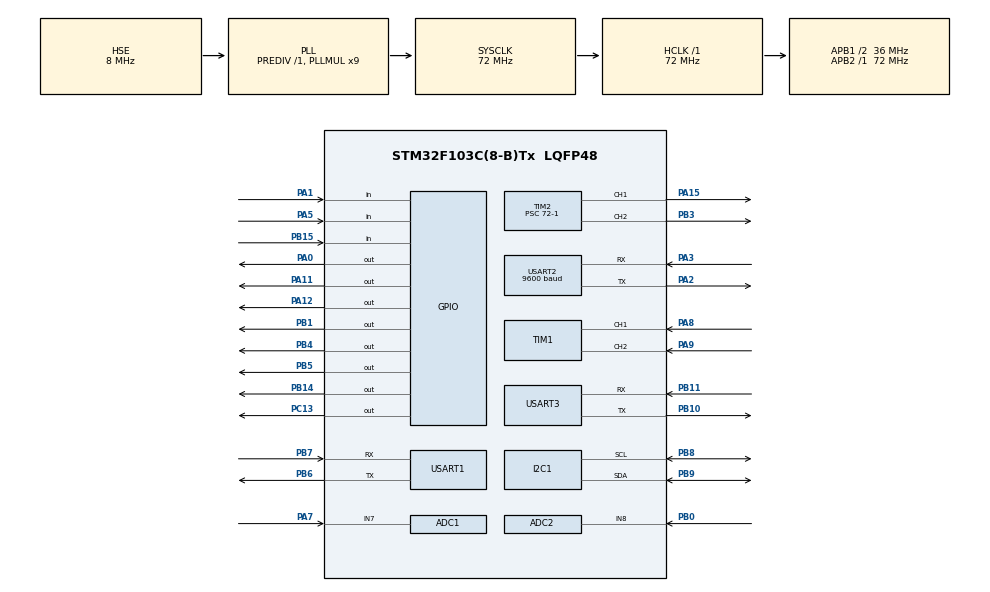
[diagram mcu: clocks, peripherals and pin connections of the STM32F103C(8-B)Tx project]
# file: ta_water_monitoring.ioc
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ADC1.Channel-1\#ChannelRegularConversion=ADC_CHANNEL_7
ADC1.NbrOfConversionFlag=1
ADC1.Rank-1\#ChannelRegularConversion=1
ADC1.SamplingTime-1\#ChannelRegularConversion=ADC_SAMPLETIME_1CYCLE_5
ADC1.master=1
ADC2.Channel-1\#ChannelRegularConversion=ADC_CHANNEL_8
ADC2.NbrOfConversionFlag=1
ADC2.Rank-1\#ChannelRegularConversion=1
ADC2.SamplingTime-1\#ChannelRegularConversion=ADC_SAMPLETIME_1CYCLE_5
Dma.Request0=USART1_RX
Dma.Request1=USART1_TX
Dma.Request2=USART3_RX
Dma.Request3=USART3_TX
Dma.Request4=USART2_RX
Dma.Request5=USART2_TX
Dma.USART1_RX.0.Direction=DMA_PERIPH_TO_MEMORY
Dma.USART1_RX.0.Instance=DMA1_Channel5
Dma.USART1_RX.0.MemDataAlignment=DMA_MDATAALIGN_BYTE
Dma.USART1_RX.0.MemInc=DMA_MINC_ENABLE
Dma.USART1_RX.0.Mode=DMA_NORMAL
Dma.USART1_RX.0.PeriphDataAlignment=DMA_PDATAALIGN_BYTE
Dma.USART1_RX.0.PeriphInc=DMA_PINC_DISABLE
Dma.USART1_RX.0.Priority=DMA_PRIORITY_LOW
Dma.USART1_TX.1.Direction=DMA_MEMORY_TO_PERIPH
Dma.USART1_TX.1.Instance=DMA1_Channel4
Dma.USART1_TX.1.MemDataAlignment=DMA_MDATAALIGN_BYTE
Dma.USART1_TX.1.MemInc=DMA_MINC_ENABLE
Dma.USART1_TX.1.Mode=DMA_NORMAL
Dma.USART1_TX.1.PeriphDataAlignment=DMA_PDATAALIGN_BYTE
Dma.USART1_TX.1.PeriphInc=DMA_PINC_DISABLE
Dma.USART1_TX.1.Priority=DMA_PRIORITY_LOW
Dma.USART2_RX.4.Direction=DMA_PERIPH_TO_MEMORY
Dma.USART2_RX.4.Instance=DMA1_Channel6
Dma.USART2_RX.4.MemDataAlignment=DMA_MDATAALIGN_BYTE
Dma.USART2_RX.4.MemInc=DMA_MINC_ENABLE
Dma.USART2_RX.4.Mode=DMA_NORMAL
Dma.USART2_RX.4.PeriphDataAlignment=DMA_PDATAALIGN_BYTE
Dma.USART2_RX.4.PeriphInc=DMA_PINC_DISABLE
Dma.USART2_RX.4.Priority=DMA_PRIORITY_LOW
Dma.USART2_TX.5.Direction=DMA_MEMORY_TO_PERIPH
Dma.USART2_TX.5.Instance=DMA1_Channel7
Dma.USART2_TX.5.MemDataAlignment=DMA_MDATAALIGN_BYTE
Dma.USART2_TX.5.MemInc=DMA_MINC_ENABLE
Dma.USART2_TX.5.Mode=DMA_NORMAL
Dma.USART2_TX.5.PeriphDataAlignment=DMA_PDATAALIGN_BYTE
Dma.USART2_TX.5.PeriphInc=DMA_PINC_DISABLE
Dma.USART2_TX.5.Priority=DMA_PRIORITY_LOW
Dma.USART3_RX.2.Direction=DMA_PERIPH_TO_MEMORY
Dma.USART3_RX.2.Instance=DMA1_Channel3
Dma.USART3_RX.2.MemDataAlignment=DMA_MDATAALIGN_BYTE
Dma.USART3_RX.2.MemInc=DMA_MINC_ENABLE
Dma.USART3_RX.2.Mode=DMA_NORMAL
Dma.USART3_RX.2.PeriphDataAlignment=DMA_PDATAALIGN_BYTE
Dma.USART3_RX.2.PeriphInc=DMA_PINC_DISABLE
Dma.USART3_RX.2.Priority=DMA_PRIORITY_LOW
Dma.USART3_TX.3.Direction=DMA_MEMORY_TO_PERIPH
Dma.USART3_TX.3.Instance=DMA1_Channel2
Dma.USART3_TX.3.MemDataAlignment=DMA_MDATAALIGN_BYTE
Dma.USART3_TX.3.MemInc=DMA_MINC_ENABLE
Dma.USART3_TX.3.Mode=DMA_NORMAL
Dma.USART3_TX.3.PeriphDataAlignment=DMA_PDATAALIGN_BYTE
Dma.USART3_TX.3.PeriphInc=DMA_PINC_DISABLE
Dma.USART3_TX.3.Priority=DMA_PRIORITY_LOW
Mcu.Family=STM32F1
Mcu.Name=STM32F103C(8-B)Tx
Mcu.Package=LQFP48
NVIC.DMA1_Channel2_IRQn=true\:0\:0\:false\:false\:true\:false\:true\:true
NVIC.DMA1_Channel3_IRQn=true\:0\:0\:false\:false\:true\:false\:true\:true
NVIC.DMA1_Channel4_IRQn=true\:0\:0\:false\:false\:true\:false\:true\:true
NVIC.DMA1_Channel5_IRQn=true\:0\:0\:false\:false\:true\:false\:true\:true
NVIC.DMA1_Channel6_IRQn=true\:0\:0\:false\:false\:true\:false\:true\:true
NVIC.DMA1_Channel7_IRQn=true\:0\:0\:false\:false\:true\:false\:true\:true
NVIC.PriorityGroup=NVIC_PRIORITYGROUP_4
NVIC.RCC_IRQn=true\:0\:0\:false\:false\:true\:true\:false\:true
NVIC.TIM3_IRQn=true\:0\:0\:false\:false\:true\:true\:true\:true
NVIC.TIM4_IRQn=true\:0\:0\:false\:false\:true\:true\:true\:true
NVIC.USART1_IRQn=true\:0\:0\:false\:false\:true\:true\:true\:true
NVIC.USART2_IRQn=true\:0\:0\:false\:false\:true\:true\:true\:true
NVIC.USART3_IRQn=true\:0\:0\:false\:false\:true\:true\:true\:true
PA0-WKUP.Signal=GPIO_Output
PA1.GPIO_PuPd=GPIO_PULLUP
PA1.Signal=GPIO_Input
PA11.Signal=GPIO_Output
PA12.Signal=GPIO_Output
PA13.Mode=Serial_Wire
PA13.Signal=SYS_JTMS-SWDIO
PA14.Mode=Serial_Wire
PA14.Signal=SYS_JTCK-SWCLK
PA15.Signal=S_TIM2_CH1_ETR
PA2.Mode=Asynchronous
PA2.Signal=USART2_TX
PA3.Mode=Asynchronous
PA3.Signal=USART2_RX
PA5.GPIO_PuPd=GPIO_PULLUP
PA5.Signal=GPIO_Input
PA7.Signal=ADCx_IN7
PA8.GPIO_PuPd=GPIO_PULLUP
PA8.Signal=S_TIM1_CH1
PA9.GPIO_PuPd=GPIO_PULLUP
PA9.Signal=S_TIM1_CH2
PB0.Signal=ADCx_IN8
PB1.Signal=GPIO_Output
PB10.Mode=Asynchronous
PB10.Signal=USART3_TX
PB11.Mode=Asynchronous
PB11.Signal=USART3_RX
PB14.Signal=GPIO_Output
PB15.Signal=GPIO_Input
PB3.Signal=S_TIM2_CH2
PB4.Signal=GPIO_Output
PB5.Signal=GPIO_Output
PB6.Mode=Asynchronous
PB6.Signal=USART1_TX
PB7.Mode=Asynchronous
PB7.Signal=USART1_RX
PB8.Mode=I2C
PB8.Signal=I2C1_SCL
PB9.Mode=I2C
PB9.Signal=I2C1_SDA
PC13-TAMPER-RTC.Signal=GPIO_Output
PD0-OSC_IN.Mode=HSE-External-Oscillator
PD0-OSC_IN.Signal=RCC_OSC_IN
PD1-OSC_OUT.Mode=HSE-External-Oscillator
PD1-OSC_OUT.Signal=RCC_OSC_OUT
ProjectManager.HeapSize=0x200
ProjectManager.StackSize=0x400
ProjectManager.TargetToolchain=STM32CubeIDE
RCC.ADCPresc=RCC_ADCPCLK2_DIV6
RCC.AHBFreq_Value=72000000
RCC.APB1CLKDivider=RCC_HCLK_DIV2
RCC.APB1Freq_Value=36000000
RCC.APB1TimFreq_Value=72000000
RCC.APB2Freq_Value=72000000
RCC.APB2TimFreq_Value=72000000
RCC.HCLKFreq_Value=72000000
RCC.PLLMUL=RCC_PLL_MUL9
RCC.PLLSourceVirtual=RCC_PLLSOURCE_HSE
RCC.SYSCLKFreq_VALUE=72000000
RCC.SYSCLKSource=RCC_SYSCLKSOURCE_PLLCLK
RCC.USBFreq_Value=72000000
SH.ADCx_IN7.0=ADC1_IN7,IN7
SH.ADCx_IN8.0=ADC2_IN8,IN8
SH.S_TIM1_CH1.0=TIM1_CH1,Encoder_Interface
SH.S_TIM1_CH2.0=TIM1_CH2,Encoder_Interface
SH.S_TIM2_CH1_ETR.0=TIM2_CH1,PWM Generation1 CH1
SH.S_TIM2_CH2.0=TIM2_CH2,PWM Generation2 CH2
TIM2.Channel-PWM\ Generation1\ CH1=TIM_CHANNEL_1
TIM2.Channel-PWM\ Generation2\ CH2=TIM_CHANNEL_2
TIM2.Period=1000-1
TIM2.Prescaler=72-1
TIM3.Prescaler=72-1
TIM4.Period=1000-1
TIM4.Prescaler=72-1
USART1.VirtualMode=VM_ASYNC
USART2.BaudRate=9600
USART2.VirtualMode=VM_ASYNC
USART3.VirtualMode=VM_ASYNC
VP_TIM3_VS_ClockSourceINT.Mode=Internal
VP_TIM4_VS_ClockSourceINT.Mode=Internal
board=custom

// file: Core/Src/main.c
/* USER CODE BEGIN Header */
/**
  ******************************************************************************
  * @file           : main.c
  * @brief          : Main program body
  ******************************************************************************
  * @attention
  *
  * Copyright (c) 2025 STMicroelectronics.
  * All rights reserved.
  *
  * This software is licensed under terms that can be found in the LICENSE file
  * in the root directory of this software component.
  * If no LICENSE file comes with this software, it is provided AS-IS.
  *
  ******************************************************************************
  */
/* USER CODE END Header */
#include "main.h"

/* USER CODE BEGIN Includes */
#include "control.h"
#include "sampling.h"
/* USER CODE END Includes */

ADC_HandleTypeDef hadc1;
ADC_HandleTypeDef hadc2;

I2C_HandleTypeDef hi2c1;

TIM_HandleTypeDef htim1;
TIM_HandleTypeDef htim2;
TIM_HandleTypeDef htim3;
TIM_HandleTypeDef htim4;

UART_HandleTypeDef huart1;
UART_HandleTypeDef huart2;
UART_HandleTypeDef huart3;
DMA_HandleTypeDef hdma_usart1_rx;
DMA_HandleTypeDef hdma_usart1_tx;
DMA_HandleTypeDef hdma_usart2_rx;
DMA_HandleTypeDef hdma_usart2_tx;
DMA_HandleTypeDef hdma_usart3_rx;
DMA_HandleTypeDef hdma_usart3_tx;

void SystemClock_Config(void);
static void MX_GPIO_Init(void);
static void MX_DMA_Init(void);
static void MX_TIM2_Init(void);
static void MX_USART1_UART_Init(void);
static void MX_USART3_UART_Init(void);
static void MX_I2C1_Init(void);
static void MX_TIM1_Init(void);
static void MX_USART2_UART_Init(void);
static void MX_TIM4_Init(void);
static void MX_ADC1_Init(void);
static void MX_TIM3_Init(void);
static void MX_ADC2_Init(void);

/* USER CODE BEGIN 0 */

/******************************************************************************
 * Function Definitions
 *****************************************************************************/
#define ADAPTIVE_SAMPLING
#define CONTROL_SYSTEM

uint8_t done_state = 0;
int reset = 0;
int test = 0;
uint32_t current_sys_tick = 0;
uint8_t	get_data[] = "R\r", get_data_cnt = 0;
uint8_t send_time = 0;
uint8_t ph_ready = 0, temp_ready = 0, do_ready = 0, turb_ready = 0;
uint8_t ph_cnt = 0, temp_cnt = 0, do_cnt = 0, turb_cnt = 0;
uint8_t send_cnt = 0;
uint32_t sys_tick_offset = 0;
uint8_t tick_once = 0;

void HAL_TIM_PeriodElapsedCallback(TIM_HandleTypeDef *htim)
{

	if(htim == &htim4) //--- general timer (every 1 ms)
	{
		test++;

		if(adaptive_start)
		{
			globalTimerProcess(&Global_Time);
		}

#ifdef CONTROL_SYSTEM
		my_my_task();

		light_sequence();

//		Task_Pressure();

		Task_Control_Test_UpDown();

		if((depth_setpoint != -1) && (duration_min != 0))
		{
			pid_task.start = 1; //---set this to 1
		}

		Task_Control_PID();
#endif

#ifdef ADAPTIVE_SAMPLING

	if(adaptive_start)
	{

		if(Global_Time.minute_t >= duration_min)
		{
			adaptive_start = 0;
			done_state = 1;
			pid_task.state = 3;
		}

		if(send_ph)
		{
			ph_ready = 1;
			ph_cnt++;
			if(ph_cnt >= 99)
			{
				ph_cnt = 0;
				ph_ready = 0;
				send_ph = 0;
			}
		}

		if(send_temp)
		{
			temp_ready = 1;
			temp_cnt++;
			if(temp_cnt >= 99)
			{
				temp_cnt = 0;
				temp_ready = 0;
				send_temp = 0;
			}
		}

		if(send_do)
		{
			do_ready = 1;
			do_cnt++;
			if(do_cnt >= 99)
			{
				do_cnt = 0;
				do_ready = 0;
				send_do = 0;
			}
		}

		if(send_turb)
		{
			turb_ready = 1;
			turb_cnt++;
			if(turb_cnt >= 99)
			{
				turb_cnt = 0;
				turb_ready = 0;
				send_turb = 0;
			}
		}

		if(done_state)
		{
			ph_ready = temp_ready = do_ready = turb_ready = 0;
		}

		memcpy(transmit +  3, &Global_Time.hour_t, 2);
		memcpy(transmit +  5, &Global_Time.minute_t, 1);
		memcpy(transmit +  6, &Global_Time.second_t, 1);
		memcpy(transmit +  7, &Global_Time.millisecond_t, 2);

		memcpy(transmit +  9, &ph_ready, 1);
		memcpy(transmit + 10, &ph, 4);
		memcpy(transmit + 14, &pHSampler.currentInterval, 4);

		memcpy(transmit + 18, &temp_ready, 1);
		memcpy(transmit + 19, &temp_cal, 4);
		memcpy(transmit + 23, &tempSampler.currentInterval, 4);

		memcpy(transmit + 27, &do_ready, 1);
		memcpy(transmit + 28, &do_data.value, 4);
		memcpy(transmit + 32, &doSampler.currentInterval, 4);

		memcpy(transmit + 36, &turb_ready, 1);
		memcpy(transmit + 37, &turbid_data.value, 4);
		memcpy(transmit + 41, &turbidSampler.currentInterval, 4);

		send_time++;
		if(send_time >= 99)
		{
			HAL_UART_Transmit_DMA(&huart1, (uint8_t *)transmit, sizeof(transmit));
			send_time = 0;
		}

	}

#endif
	}

}

void HAL_UART_RxCpltCallback(UART_HandleTypeDef *huart)
{
	if(huart == &huart1)
	{
		memcpy(&depth_setpoint, UART1_RX_BUFFER + 3, 4);
		memcpy(&duration_min, UART1_RX_BUFFER + 7, 4);

		HAL_UART_Receive_DMA(&huart1, (uint8_t*)UART1_RX_BUFFER, sizeof(UART1_RX_BUFFER));
	}

	if(huart == &huart2)
	{
		for (int i = 0 ; i< sizeof(rx) ; i++){
			if(rx[i] == '\r' || rx[i] == '\n'){
				rx[i] = '\0';
				break;
				}
			}
			ph = atof(rx);
			//ph_cal = (ph - 0.085) / 0.5383;

		    response_received = 1;

		    HAL_UART_Receive_DMA(&huart2, (uint8_t *)rx, sizeof(rx));
	}
}

void HAL_UART_RxHalfCpltCallback(UART_HandleTypeDef *huart)
{
	if(huart == &huart1)
	{
		if(!(UART1_RX_BUFFER[0] == 'A' && UART1_RX_BUFFER[1] == 'B' && UART1_RX_BUFFER[2] == 'C'))
		{
			HAL_UART_AbortReceive(&huart1);
			HAL_UART_Receive_DMA(&huart1, (uint8_t*)UART1_RX_BUFFER, sizeof(UART1_RX_BUFFER));
		}
	}

	if(huart == &huart2)
	{
//		if(!(rx[0] == 'A' && rx[1] == 'B' && rx[2] == 'C'))
//		{
//			HAL_UART_AbortReceive(&huart2);
//			HAL_UART_Receive_DMA(&huart2, (uint8_t*)rx, sizeof(rx));
//		}
	}
}

void HAL_UART_ErrorCallback(UART_HandleTypeDef *huart)
{
	if(huart == &huart1)
	{
		HAL_UART_AbortReceive(&huart1);
		HAL_UART_Receive_DMA(&huart1, (uint8_t*)UART1_RX_BUFFER, sizeof(UART1_RX_BUFFER));
	}

	if(huart == &huart2)
	{
		HAL_UART_Receive_DMA(&huart2, (uint8_t*)rx, sizeof(rx));
	}
}

/* USER CODE END 0 */

int main(void)
{

  /* MCU Configuration--------------------------------------------------------*/

  /* Reset of all peripherals, Initializes the Flash interface and the Systick. */
  HAL_Init();

  /* Configure the system clock */
  SystemClock_Config();

  /* Initialize all configured peripherals */
  MX_GPIO_Init();
  MX_DMA_Init();
  MX_TIM2_Init();
  MX_USART1_UART_Init();
  MX_USART3_UART_Init();
  MX_I2C1_Init();
  MX_TIM1_Init();
  MX_USART2_UART_Init();
  MX_TIM4_Init();
  MX_ADC1_Init();
  MX_TIM3_Init();
  MX_ADC2_Init();
  /* USER CODE BEGIN 2 */

#ifdef CONTROL_SYSTEM
  initSubmersible();
#endif

#ifdef ADAPTIVE_SAMPLING

  initSampler(&tempSampler, tempHistory, HISTORY_SIZE, 0.025, 1000, 1000, 10000);
  initSampler(&doSampler, doHistory, HISTORY_SIZE, 0.06, 90000, 90000, 300000);
  initSampler(&pHSampler, pHHistory, HISTORY_SIZE, 0.018, 60000, 60000, 300000);
  initSampler(&turbidSampler, turbidHistory, HISTORY_SIZE, 0.02, 1000, 1000, 10000);

  temp_cal = 25;

  HAL_UART_Receive_DMA(&huart2, (uint8_t*)rx, sizeof(rx));

  HAL_TIM_Base_Start_IT(&htim3);
#endif
//--- turn this ON
  HAL_UART_Receive_DMA(&huart1, (uint8_t*)UART1_RX_BUFFER, sizeof(UART1_RX_BUFFER));

  HAL_TIM_Base_Start_IT(&htim4);
  /* USER CODE END 2 */

  /* Infinite loop */
  /* USER CODE BEGIN WHILE */
  while (1)
  {

#ifdef ADAPTIVE_SAMPLING

	  if(adaptive_start)
	  {
		  if(!tick_once)
		  {
			  tick_once++;
			  sys_tick_offset = HAL_GetTick();
		  }
	  current_sys_tick = HAL_GetTick() - sys_tick_offset;
	  switch (temp_state)
	  {
	  	  case TEMP_STATE_IDLE:
	  		  if (current_sys_tick - last_temp_tick >= tempSampler.currentInterval-750)
	  		  { // 1 detik interval pembacaan

	  			  Presence = DS18B20_Start();
	  			  if (Presence == 1)
	  			  {
	  				  DS18B20_Write(0xCC);  // skip ROM
	  				  DS18B20_Write(0x44);  // start temperature conversion
	  				  last_temp_tick = current_sys_tick;  // mulai tunggu 750ms
	  				  temp_state = TEMP_STATE_WAIT_CONVERT;
	  			  }
	  			  else
	  			  {
	  				  last_temp_tick = current_sys_tick;
	  				  temp_state = TEMP_STATE_IDLE;
	  			  }
	  		  }
	  		  break;

	  	  case TEMP_STATE_WAIT_CONVERT:
	  		  if (current_sys_tick - last_temp_tick >= 750)
	  		  {
	  			  temp_state = TEMP_STATE_READ_TEMP;
	  		  }
	  		  break;

	  	  case TEMP_STATE_READ_TEMP:
	  		  Presence = DS18B20_Start();
	  		  if (Presence == 1)
	  		  {
	  			  DS18B20_Write(0xCC);  // skip ROM
	  			  DS18B20_Write(0xBE);  // read scratchpad
	  			  Temp_byte1 = DS18B20_Read(); // LSB
	  			  Temp_byte2 = DS18B20_Read(); // MSB
	  			  temp_state = TEMP_STATE_DONE;
	  		  }
	  		  else
	  		  {
	  			  last_temp_tick = current_sys_tick;
	  			  temp_state = TEMP_STATE_IDLE; // gagal deteksi sensor
	  		  }
	  		  break;

	  	  case TEMP_STATE_DONE:
	  		  uint16_t TEMP = (Temp_byte2 << 8) | Temp_byte1;
	  		  temp_raw = (float)TEMP / 16.0;
	  		  temp_cal = 0.9722 * temp_raw + 0.6976;
	  		  float newIntervalTemp = updateSamplingInterval(&tempSampler, temp_cal);
	  		  tempSampler.currentInterval = newIntervalTemp;
	  		  send_temp = 1;
	  		  last_temp_tick = current_sys_tick;
	  		  temp_state = TEMP_STATE_IDLE;
	  		  break;

	  	  default:
	  		  temp_state = TEMP_STATE_IDLE;
	  		  break;
	  }

	  switch(do_state)
	  {
	  	  case DO_STATE_IDLE:
	  		  if(current_sys_tick - last_do_tick >= doSampler.currentInterval)
	  		  {
	  			  do_state = DO_STATE_READ_ADC;
	  		  }
	  		  break;

	  	  case DO_STATE_READ_ADC:
	  		  HAL_ADC_Start(&hadc1);
	  		  if(HAL_ADC_PollForConversion(&hadc1, 100) == HAL_OK)
	  		  {
	  			  do_data.adc_raw = HAL_ADC_GetValue(&hadc1);
	  		  }
	  		  else
	  		  {
	  			  do_data.adc_raw = 0;
	  		  }
	  		  HAL_ADC_Stop(&hadc1);
	  		  do_state = DO_STATE_CALCULATE;
	  		  break;

	  	  case DO_STATE_CALCULATE:
	  		  do_data.adc_voltage = VREF * do_data.adc_raw/ADC_RES;
	  		  do_data.value = calculateDO(do_data.adc_voltage, temp_cal);
	  		  do_data.cal_value = (0.1012*do_data.value*do_data.value)+(0.2518*do_data.value)+0.3116;
	  		  do_state = DO_STATE_DONE;
	  		  break;
	  	  case DO_STATE_DONE:
	  		  float newIntervalDO = updateSamplingInterval(&doSampler, do_data.value);
	  		  doSampler.currentInterval = newIntervalDO;
	  		  last_do_tick = current_sys_tick;
	  		  do_state = DO_STATE_IDLE;
	  		  send_do = 1;
	  		  break;

	  	  default:
	  		  do_state = DO_STATE_IDLE;
	  		  break;
	  }

	  switch(turbid_state)
	  {
	  	  case TURBID_STATE_IDLE:
	  		  if(current_sys_tick - last_turbid_tick >= turbidSampler.currentInterval)
	  		  {
	  			  turbid_state = TURBID_STATE_READ_ADC;
	  		  }
	  		  break;

	  	  case TURBID_STATE_READ_ADC:
	  		  HAL_ADC_Start(&hadc2);
	  		  if(HAL_ADC_PollForConversion(&hadc2, 100) == HAL_OK)
	  		  {
	  			  turbid_data.adc_raw = HAL_ADC_GetValue(&hadc2);
	  		  }
	  		  else
	  		  {
	  			  turbid_data.adc_raw = 0;
	  		  }
	  		  HAL_ADC_Stop(&hadc2);
	  		  turbid_state = TURBID_STATE_FILTER;
	  		  break;

	  	  case TURBID_STATE_FILTER:
	  		  // Hapus nilai lama dari jumlah total
	  		  if (turbid_buffer_count == MOV_AVER_TURB)
	  		  {
	  			  turbid_buffer_sum -= turbid_values_buffer[turbid_buffer_index];
	  		  }

	  		  // Tambahkan nilai ADC raw baru ke buffer dan jumlah total
	  		  turbid_values_buffer[turbid_buffer_index] = turbid_data.adc_raw;
	  		  turbid_buffer_sum += turbid_data.adc_raw;

	  		  // Majukan indeks buffer
	  		  turbid_buffer_index = (turbid_buffer_index + 1) % MOV_AVER_TURB;

	  		  // Hitung berapa banyak data yang sudah ada di buffer (maks TURBID_MOVING_AVERAGE_N)
	  		  if (turbid_buffer_count < MOV_AVER_TURB)
	  		  {
	  			  turbid_buffer_count++;
	  		  }

	  		  // Hitung nilai rata-rata ADC mentah yang difilter
	  		  turbid_data.filtered_adc_raw = (uint32_t)(turbid_buffer_sum / turbid_buffer_count);

	  		  turbid_state = TURBID_STATE_CALCULATE; // Lanjut ke state perhitungan
	  		  break;

	  	  case TURBID_STATE_CALCULATE:

	  		  turbid_data.adc_voltage = VREF * (((float)turbid_data.filtered_adc_raw * 2) / ADC_RES)/1000;

	  		  turbid_data.cal_value = (turbid_data.adc_voltage - 2.1733) / -0.003;

	  		  if(turbid_data.cal_value < 0){

	  			  turbid_data.value = 0;

	  		  }

	  		  else turbid_data.value = turbid_data.cal_value;

	  		  turbid_state = TURBID_STATE_DONE;

	  		  break;

	  	  case TURBID_STATE_DONE:
	  		  float newIntervalTurbid = updateSamplingInterval(&turbidSampler, turbid_data.value);

	  		  turbidSampler.currentInterval = newIntervalTurbid;

	  		  last_turbid_tick = current_sys_tick;

	  		  turbid_state = TURBID_STATE_IDLE;

	  		  send_turb = 1;

	  		  break;

	  	  default:
	  		  turbid_state = TURBID_STATE_IDLE;
	  		  break;
	  }

	  switch(ph_state)
	  {
	  	  case PH_STATE_IDLE:
	  		  if(current_sys_tick - last_ph_tick >= pHSampler.currentInterval)
	  		  {
	  			  ph_state = PH_STATE_REQUEST_DATA;
	  		  }
	  		  break;

	  	  case PH_STATE_REQUEST_DATA:
	  		  if(huart2.gState == HAL_UART_STATE_READY)
	  		  {
	  			HAL_UART_Transmit_DMA(&huart2, get_data, strlen((char*)get_data));

	  			response_received = 0;

	  			last_ph_tick = current_sys_tick;

	  			ph_state = PH_STATE_WAIT_RESPONSE;
	  		  }
	  		  break;

	  	  case PH_STATE_WAIT_RESPONSE:
	  		  if(response_received)
	  		  {
	  			  ph_state = PH_STATE_DONE;
	  		  }
//	  		  else
//	  		  {
//	  			  HAL_UART_Receive_DMA(&huart2, (uint8_t *)rx, sizeof(rx));
//	  		  }
	  		  break;

	  	  case PH_STATE_DONE:
	  		  float newIntervalPH = updateSamplingInterval(&pHSampler, ph);

	  		  pHSampler.currentInterval = newIntervalPH;

	  		  last_ph_tick = current_sys_tick;

	  		  send_ph = 1;

	  		  ph_state = PH_STATE_IDLE;

	  		  break;

	  	  default:
	  		  ph_state = PH_STATE_IDLE;
	  		  break;
	  }

	  }
#endif

    /* USER CODE END WHILE */

  }
}

void SystemClock_Config(void)
{
  RCC_OscInitTypeDef RCC_OscInitStruct = {0};
  RCC_ClkInitTypeDef RCC_ClkInitStruct = {0};
  RCC_PeriphCLKInitTypeDef PeriphClkInit = {0};

  /** Initializes the RCC Oscillators according to the specified parameters
  * in the RCC_OscInitTypeDef structure.
  */
  RCC_OscInitStruct.OscillatorType = RCC_OSCILLATORTYPE_HSE;
  RCC_OscInitStruct.HSEState = RCC_HSE_ON;
  RCC_OscInitStruct.HSEPredivValue = RCC_HSE_PREDIV_DIV1;
  RCC_OscInitStruct.HSIState = RCC_HSI_ON;
  RCC_OscInitStruct.PLL.PLLState = RCC_PLL_ON;
  RCC_OscInitStruct.PLL.PLLSource = RCC_PLLSOURCE_HSE;
  RCC_OscInitStruct.PLL.PLLMUL = RCC_PLL_MUL9;
  if (HAL_RCC_OscConfig(&RCC_OscInitStruct) != HAL_OK)
  {
    Error_Handler();
  }

  /** Initializes the CPU, AHB and APB buses clocks
  */
  RCC_ClkInitStruct.ClockType = RCC_CLOCKTYPE_HCLK|RCC_CLOCKTYPE_SYSCLK
                              |RCC_CLOCKTYPE_PCLK1|RCC_CLOCKTYPE_PCLK2;
  RCC_ClkInitStruct.SYSCLKSource = RCC_SYSCLKSOURCE_PLLCLK;
  RCC_ClkInitStruct.AHBCLKDivider = RCC_SYSCLK_DIV1;
  RCC_ClkInitStruct.APB1CLKDivider = RCC_HCLK_DIV2;
  RCC_ClkInitStruct.APB2CLKDivider = RCC_HCLK_DIV1;

  if (HAL_RCC_ClockConfig(&RCC_ClkInitStruct, FLASH_LATENCY_2) != HAL_OK)
  {
    Error_Handler();
  }
  PeriphClkInit.PeriphClockSelection = RCC_PERIPHCLK_ADC;
  PeriphClkInit.AdcClockSelection = RCC_ADCPCLK2_DIV6;
  if (HAL_RCCEx_PeriphCLKConfig(&PeriphClkInit) != HAL_OK)
  {
    Error_Handler();
  }
}

static void MX_ADC1_Init(void)
{

  ADC_ChannelConfTypeDef sConfig = {0};

  /** Common config
  */
  hadc1.Instance = ADC1;
  hadc1.Init.ScanConvMode = ADC_SCAN_DISABLE;
  hadc1.Init.ContinuousConvMode = DISABLE;
  hadc1.Init.DiscontinuousConvMode = DISABLE;
  hadc1.Init.ExternalTrigConv = ADC_SOFTWARE_START;
  hadc1.Init.DataAlign = ADC_DATAALIGN_RIGHT;
  hadc1.Init.NbrOfConversion = 1;
  if (HAL_ADC_Init(&hadc1) != HAL_OK)
  {
    Error_Handler();
  }

  /** Configure Regular Channel
  */
  sConfig.Channel = ADC_CHANNEL_7;
  sConfig.Rank = ADC_REGULAR_RANK_1;
  sConfig.SamplingTime = ADC_SAMPLETIME_1CYCLE_5;
  if (HAL_ADC_ConfigChannel(&hadc1, &sConfig) != HAL_OK)
  {
    Error_Handler();
  }

}

static void MX_ADC2_Init(void)
{

  ADC_ChannelConfTypeDef sConfig = {0};

  /** Common config
  */
  hadc2.Instance = ADC2;
  hadc2.Init.ScanConvMode = ADC_SCAN_DISABLE;
  hadc2.Init.ContinuousConvMode = DISABLE;
  hadc2.Init.DiscontinuousConvMode = DISABLE;
  hadc2.Init.ExternalTrigConv = ADC_SOFTWARE_START;
  hadc2.Init.DataAlign = ADC_DATAALIGN_RIGHT;
  hadc2.Init.NbrOfConversion = 1;
  if (HAL_ADC_Init(&hadc2) != HAL_OK)
  {
    Error_Handler();
  }

  /** Configure Regular Channel
  */
  sConfig.Channel = ADC_CHANNEL_8;
  sConfig.Rank = ADC_REGULAR_RANK_1;
  sConfig.SamplingTime = ADC_SAMPLETIME_1CYCLE_5;
  if (HAL_ADC_ConfigChannel(&hadc2, &sConfig) != HAL_OK)
  {
    Error_Handler();
  }

}

static void MX_I2C1_Init(void)
{

  hi2c1.Instance = I2C1;
  hi2c1.Init.ClockSpeed = 100000;
  hi2c1.Init.DutyCycle = I2C_DUTYCYCLE_2;
  hi2c1.Init.OwnAddress1 = 0;
  hi2c1.Init.AddressingMode = I2C_ADDRESSINGMODE_7BIT;
  hi2c1.Init.DualAddressMode = I2C_DUALADDRESS_DISABLE;
  hi2c1.Init.OwnAddress2 = 0;
  hi2c1.Init.GeneralCallMode = I2C_GENERALCALL_DISABLE;
  hi2c1.Init.NoStretchMode = I2C_NOSTRETCH_DISABLE;
  if (HAL_I2C_Init(&hi2c1) != HAL_OK)
  {
    Error_Handler();
  }

}

static void MX_TIM1_Init(void)
{

  TIM_Encoder_InitTypeDef sConfig = {0};
  TIM_MasterConfigTypeDef sMasterConfig = {0};

  htim1.Instance = TIM1;
  htim1.Init.Prescaler = 0;
  htim1.Init.CounterMode = TIM_COUNTERMODE_UP;
  htim1.Init.Period = 65535;
  htim1.Init.ClockDivision = TIM_CLOCKDIVISION_DIV1;
  htim1.Init.RepetitionCounter = 0;
  htim1.Init.AutoReloadPreload = TIM_AUTORELOAD_PRELOAD_DISABLE;
  sConfig.EncoderMode = TIM_ENCODERMODE_TI1;
  sConfig.IC1Polarity = TIM_ICPOLARITY_RISING;
  sConfig.IC1Selection = TIM_ICSELECTION_DIRECTTI;
  sConfig.IC1Prescaler = TIM_ICPSC_DIV1;
  sConfig.IC1Filter = 0;
  sConfig.IC2Polarity = TIM_ICPOLARITY_RISING;
  sConfig.IC2Selection = TIM_ICSELECTION_DIRECTTI;
  sConfig.IC2Prescaler = TIM_ICPSC_DIV1;
  sConfig.IC2Filter = 0;
  if (HAL_TIM_Encoder_Init(&htim1, &sConfig) != HAL_OK)
  {
    Error_Handler();
  }
  sMasterConfig.MasterOutputTrigger = TIM_TRGO_RESET;
  sMasterConfig.MasterSlaveMode = TIM_MASTERSLAVEMODE_DISABLE;
  if (HAL_TIMEx_MasterConfigSynchronization(&htim1, &sMasterConfig) != HAL_OK)
  {
    Error_Handler();
  }

}

static void MX_TIM2_Init(void)
{

  TIM_MasterConfigTypeDef sMasterConfig = {0};
  TIM_OC_InitTypeDef sConfigOC = {0};

  htim2.Instance = TIM2;
  htim2.Init.Prescaler = 72-1;
  htim2.Init.CounterMode = TIM_COUNTERMODE_UP;
  htim2.Init.Period = 1000-1;
  htim2.Init.ClockDivision = TIM_CLOCKDIVISION_DIV1;
  htim2.Init.AutoReloadPreload = TIM_AUTORELOAD_PRELOAD_DISABLE;
  if (HAL_TIM_PWM_Init(&htim2) != HAL_OK)
  {
    Error_Handler();
  }
  sMasterConfig.MasterOutputTrigger = TIM_TRGO_RESET;
  sMasterConfig.MasterSlaveMode = TIM_MASTERSLAVEMODE_DISABLE;
  if (HAL_TIMEx_MasterConfigSynchronization(&htim2, &sMasterConfig) != HAL_OK)
  {
    Error_Handler();
  }
  sConfigOC.OCMode = TIM_OCMODE_PWM1;
  sConfigOC.Pulse = 0;
  sConfigOC.OCPolarity = TIM_OCPOLARITY_HIGH;
  sConfigOC.OCFastMode = TIM_OCFAST_DISABLE;
  if (HAL_TIM_PWM_ConfigChannel(&htim2, &sConfigOC, TIM_CHANNEL_1) != HAL_OK)
  {
    Error_Handler();
  }
  if (HAL_TIM_PWM_ConfigChannel(&htim2, &sConfigOC, TIM_CHANNEL_2) != HAL_OK)
  {
    Error_Handler();
  }
  HAL_TIM_MspPostInit(&htim2);

}

static void MX_TIM3_Init(void)
{

  TIM_ClockConfigTypeDef sClockSourceConfig = {0};
  TIM_MasterConfigTypeDef sMasterConfig = {0};

  htim3.Instance = TIM3;
  htim3.Init.Prescaler = 72-1;
  htim3.Init.CounterMode = TIM_COUNTERMODE_UP;
  htim3.Init.Period = 65535;
  htim3.Init.ClockDivision = TIM_CLOCKDIVISION_DIV1;
  htim3.Init.AutoReloadPreload = TIM_AUTORELOAD_PRELOAD_DISABLE;
  if (HAL_TIM_Base_Init(&htim3) != HAL_OK)
  {
    Error_Handler();
  }
  sClockSourceConfig.ClockSource = TIM_CLOCKSOURCE_INTERNAL;
  if (HAL_TIM_ConfigClockSource(&htim3, &sClockSourceConfig) != HAL_OK)
  {
    Error_Handler();
  }
  sMasterConfig.MasterOutputTrigger = TIM_TRGO_RESET;
  sMasterConfig.MasterSlaveMode = TIM_MASTERSLAVEMODE_DISABLE;
  if (HAL_TIMEx_MasterConfigSynchronization(&htim3, &sMasterConfig) != HAL_OK)
  {
    Error_Handler();
  }

}

static void MX_TIM4_Init(void)
{

  TIM_ClockConfigTypeDef sClockSourceConfig = {0};
  TIM_MasterConfigTypeDef sMasterConfig = {0};

  htim4.Instance = TIM4;
  htim4.Init.Prescaler = 72-1;
  htim4.Init.CounterMode = TIM_COUNTERMODE_UP;
  htim4.Init.Period = 1000-1;
  htim4.Init.ClockDivision = TIM_CLOCKDIVISION_DIV1;
  htim4.Init.AutoReloadPreload = TIM_AUTORELOAD_PRELOAD_DISABLE;
  if (HAL_TIM_Base_Init(&htim4) != HAL_OK)
  {
    Error_Handler();
  }
  sClockSourceConfig.ClockSource = TIM_CLOCKSOURCE_INTERNAL;
  if (HAL_TIM_ConfigClockSource(&htim4, &sClockSourceConfig) != HAL_OK)
  {
    Error_Handler();
  }
  sMasterConfig.MasterOutputTrigger = TIM_TRGO_RESET;
  sMasterConfig.MasterSlaveMode = TIM_MASTERSLAVEMODE_DISABLE;
  if (HAL_TIMEx_MasterConfigSynchronization(&htim4, &sMasterConfig) != HAL_OK)
  {
    Error_Handler();
  }

}

static void MX_USART1_UART_Init(void)
{

  huart1.Instance = USART1;
  huart1.Init.BaudRate = 115200;
  huart1.Init.WordLength = UART_WORDLENGTH_8B;
  huart1.Init.StopBits = UART_STOPBITS_1;
  huart1.Init.Parity = UART_PARITY_NONE;
  huart1.Init.Mode = UART_MODE_TX_RX;
  huart1.Init.HwFlowCtl = UART_HWCONTROL_NONE;
  huart1.Init.OverSampling = UART_OVERSAMPLING_16;
  if (HAL_UART_Init(&huart1) != HAL_OK)
  {
    Error_Handler();
  }

}

static void MX_USART2_UART_Init(void)
{

  huart2.Instance = USART2;
  huart2.Init.BaudRate = 9600;
  huart2.Init.WordLength = UART_WORDLENGTH_8B;
  huart2.Init.StopBits = UART_STOPBITS_1;
  huart2.Init.Parity = UART_PARITY_NONE;
  huart2.Init.Mode = UART_MODE_TX_RX;
  huart2.Init.HwFlowCtl = UART_HWCONTROL_NONE;
  huart2.Init.OverSampling = UART_OVERSAMPLING_16;
  if (HAL_UART_Init(&huart2) != HAL_OK)
  {
    Error_Handler();
  }

}

static void MX_USART3_UART_Init(void)
{

  huart3.Instance = USART3;
  huart3.Init.BaudRate = 115200;
  huart3.Init.WordLength = UART_WORDLENGTH_8B;
  huart3.Init.StopBits = UART_STOPBITS_1;
  huart3.Init.Parity = UART_PARITY_NONE;
  huart3.Init.Mode = UART_MODE_TX_RX;
  huart3.Init.HwFlowCtl = UART_HWCONTROL_NONE;
  huart3.Init.OverSampling = UART_OVERSAMPLING_16;
  if (HAL_UART_Init(&huart3) != HAL_OK)
  {
    Error_Handler();
  }

}

static void MX_DMA_Init(void)
{

  /* DMA controller clock enable */
  __HAL_RCC_DMA1_CLK_ENABLE();

  /* DMA interrupt init */
  /* DMA1_Channel2_IRQn interrupt configuration */
  HAL_NVIC_SetPriority(DMA1_Channel2_IRQn, 0, 0);
  HAL_NVIC_EnableIRQ(DMA1_Channel2_IRQn);
  /* DMA1_Channel3_IRQn interrupt configuration */
  HAL_NVIC_SetPriority(DMA1_Channel3_IRQn, 0, 0);
  HAL_NVIC_EnableIRQ(DMA1_Channel3_IRQn);
  /* DMA1_Channel4_IRQn interrupt configuration */
  HAL_NVIC_SetPriority(DMA1_Channel4_IRQn, 0, 0);
  HAL_NVIC_EnableIRQ(DMA1_Channel4_IRQn);
  /* DMA1_Channel5_IRQn interrupt configuration */
  HAL_NVIC_SetPriority(DMA1_Channel5_IRQn, 0, 0);
  HAL_NVIC_EnableIRQ(DMA1_Channel5_IRQn);
  /* DMA1_Channel6_IRQn interrupt configuration */
  HAL_NVIC_SetPriority(DMA1_Channel6_IRQn, 0, 0);
  HAL_NVIC_EnableIRQ(DMA1_Channel6_IRQn);
  /* DMA1_Channel7_IRQn interrupt configuration */
  HAL_NVIC_SetPriority(DMA1_Channel7_IRQn, 0, 0);
  HAL_NVIC_EnableIRQ(DMA1_Channel7_IRQn);

}

static void MX_GPIO_Init(void)
{
  GPIO_InitTypeDef GPIO_InitStruct = {0};

  /* GPIO Ports Clock Enable */
  __HAL_RCC_GPIOC_CLK_ENABLE();
  __HAL_RCC_GPIOD_CLK_ENABLE();
  __HAL_RCC_GPIOA_CLK_ENABLE();
  __HAL_RCC_GPIOB_CLK_ENABLE();

  /*Configure GPIO pin Output Level */
  HAL_GPIO_WritePin(GPIOC, GPIO_PIN_13, GPIO_PIN_RESET);

  /*Configure GPIO pin Output Level */
  HAL_GPIO_WritePin(GPIOA, GPIO_PIN_0|GPIO_PIN_11|GPIO_PIN_12, GPIO_PIN_RESET);

  /*Configure GPIO pin Output Level */
  HAL_GPIO_WritePin(GPIOB, GPIO_PIN_1|GPIO_PIN_14|GPIO_PIN_4|GPIO_PIN_5, GPIO_PIN_RESET);

  /*Configure GPIO pin : PC13 */
  GPIO_InitStruct.Pin = GPIO_PIN_13;
  GPIO_InitStruct.Mode = GPIO_MODE_OUTPUT_PP;
  GPIO_InitStruct.Pull = GPIO_NOPULL;
  GPIO_InitStruct.Speed = GPIO_SPEED_FREQ_LOW;
  HAL_GPIO_Init(GPIOC, &GPIO_InitStruct);

  /*Configure GPIO pins : PA0 PA11 PA12 */
  GPIO_InitStruct.Pin = GPIO_PIN_0|GPIO_PIN_11|GPIO_PIN_12;
  GPIO_InitStruct.Mode = GPIO_MODE_OUTPUT_PP;
  GPIO_InitStruct.Pull = GPIO_NOPULL;
  GPIO_InitStruct.Speed = GPIO_SPEED_FREQ_LOW;
  HAL_GPIO_Init(GPIOA, &GPIO_InitStruct);

  /*Configure GPIO pins : PA1 PA5 */
  GPIO_InitStruct.Pin = GPIO_PIN_1|GPIO_PIN_5;
  GPIO_InitStruct.Mode = GPIO_MODE_INPUT;
  GPIO_InitStruct.Pull = GPIO_PULLUP;
  HAL_GPIO_Init(GPIOA, &GPIO_InitStruct);

  /*Configure GPIO pins : PB1 PB14 PB4 PB5 */
  GPIO_InitStruct.Pin = GPIO_PIN_1|GPIO_PIN_14|GPIO_PIN_4|GPIO_PIN_5;
  GPIO_InitStruct.Mode = GPIO_MODE_OUTPUT_PP;
  GPIO_InitStruct.Pull = GPIO_NOPULL;
  GPIO_InitStruct.Speed = GPIO_SPEED_FREQ_LOW;
  HAL_GPIO_Init(GPIOB, &GPIO_InitStruct);

  /*Configure GPIO pin : PB15 */
  GPIO_InitStruct.Pin = GPIO_PIN_15;
  GPIO_InitStruct.Mode = GPIO_MODE_INPUT;
  GPIO_InitStruct.Pull = GPIO_NOPULL;
  HAL_GPIO_Init(GPIOB, &GPIO_InitStruct);

}

void Error_Handler(void)
{
  __disable_irq();
  while (1)
  {
  }
}
